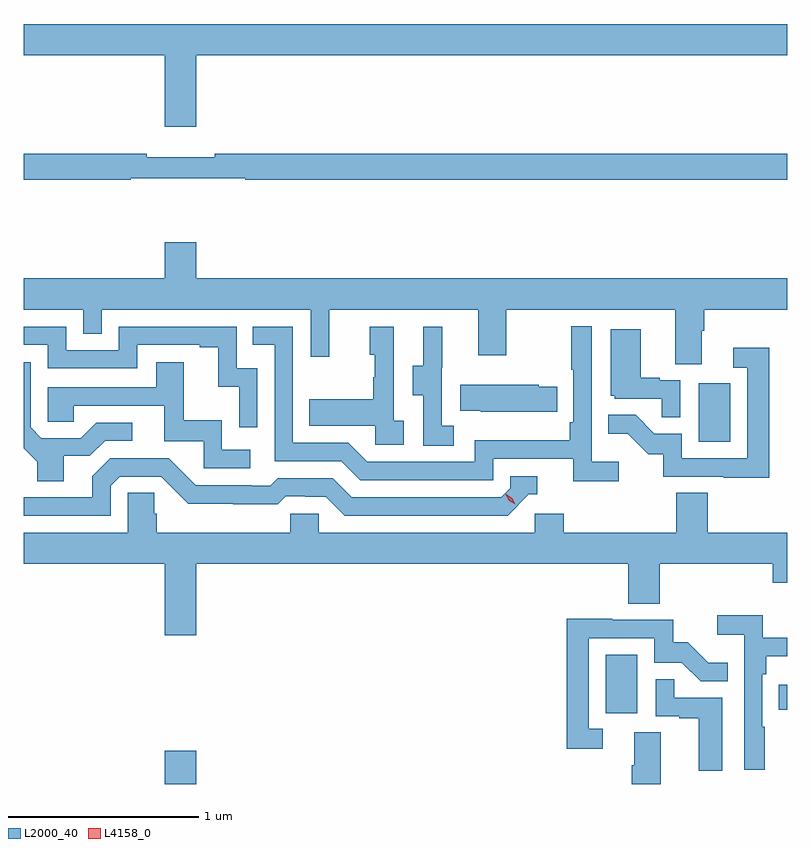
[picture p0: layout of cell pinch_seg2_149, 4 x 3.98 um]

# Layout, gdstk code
import gdstk
lib = gdstk.Library(unit=1e-6, precision=1e-09)
def R(c, l, rs):  # rectangles x0, y0, x1, y1
    for r in rs: c.add(gdstk.rectangle(r[:2], r[2:], *l))
def P(c, l, *ps):  # polygons
    for p in ps: c.add(gdstk.Polygon(p, *l))
L2000_40 = (2000, 40)
L4158_0 = (4158, 0)

pinch_seg2_149 = lib.new_cell('pinch_seg2_149')
R(pinch_seg2_149, L2000_40, [(1088.084,638.491,1088.248,638.665), (1090.394,638.862,1090.558,639.169), (1091.299,638.881,1091.344,639.01), (1090.88,640.284,1091.044,640.591)])
P(pinch_seg2_149, L2000_40, [(1088.248,642.308),(1091.344,642.308),(1091.344,642.472),(1087.344,642.472),(1087.344,642.308),(1088.084,642.308),(1088.084,641.934),(1088.248,641.934)],
  [(1087.904,641.664),(1088.504,641.664),(1088.504,641.656),(1091.344,641.656),(1091.344,641.792),(1088.344,641.792),(1088.344,641.773),(1087.988,641.773),(1087.988,641.792),(1087.344,641.792),(1087.344,641.656),(1087.904,641.656)],
  [(1090.897,640.864),(1090.91,640.864),(1090.91,640.976),(1091.344,640.976),(1091.344,641.14),(1088.248,641.14),(1088.248,641.329),(1088.084,641.329),(1088.084,641.14),(1087.344,641.14),(1087.344,640.976),(1087.656,640.976),(1087.656,640.849),(1087.752,640.849),(1087.752,640.976),(1088.847,640.976),(1088.847,640.728),(1088.945,640.728),(1088.945,640.976),(1089.725,640.976),(1089.725,640.737),(1089.873,640.737),(1089.873,640.976),(1090.757,640.976),(1090.757,640.69),(1090.897,640.69)],
  [(1090.462,640.18),(1090.32,640.18),(1090.32,640.888),(1090.212,640.888),(1090.212,640.66),(1090.224,640.66),(1090.224,640.387),(1090.204,640.387),(1090.204,640.291),(1089.708,640.291),(1089.708,640.179),(1089.144,640.179),(1089.045,640.278),(1088.754,640.278),(1088.754,640.887),(1088.545,640.887),(1088.545,640.791),(1088.658,640.791),(1088.658,640.182),(1089.008,640.182),(1089.107,640.083),(1089.804,640.083),(1089.804,640.194),(1090.223,640.194),(1090.223,640.078),(1090.462,640.078)],
  [(1088.568,640.668),(1088.46,640.668),(1088.46,640.887),(1087.842,640.887),(1087.842,640.764),(1087.566,640.764),(1087.566,640.887),(1087.344,640.887),(1087.344,640.791),(1087.47,640.791),(1087.47,640.668),(1087.938,640.668),(1087.938,640.791),(1088.267,640.791),(1088.267,640.779),(1088.363,640.779),(1088.363,640.571),(1088.472,640.571),(1088.472,640.359),(1088.568,640.359)],
  [(1089.334,640.394),(1089.282,640.394),(1089.282,640.885),(1089.158,640.885),(1089.158,640.74),(1089.184,640.74),(1089.184,640.622),(1089.174,640.622),(1089.174,640.507),(1088.839,640.507),(1088.839,640.367),(1089.186,640.367),(1089.186,640.269),(1089.334,640.269)],
  [(1089.598,640.367),(1089.534,640.367),(1089.534,640.671),(1089.536,640.671),(1089.536,640.885),(1089.437,640.885),(1089.437,640.683),(1089.383,640.683),(1089.383,640.528),(1089.438,640.528),(1089.438,640.264),(1089.598,640.264)],
  [(1090.782,640.605),(1090.676,640.605),(1090.676,640.618),(1090.576,640.618),(1090.576,640.873),(1090.418,640.873),(1090.418,640.524),(1090.44,640.524),(1090.44,640.509),(1090.687,640.509),(1090.687,640.411),(1090.782,640.411)],
  [(1091.249,640.777),(1091.061,640.777),(1091.061,640.671),(1091.133,640.671),(1091.133,640.197),(1090.791,640.197),(1090.791,640.326),(1090.647,640.326),(1090.549,640.424),(1090.405,640.424),(1090.405,640.325),(1090.509,640.325),(1090.616,640.218),(1090.693,640.218),(1090.693,640.101),(1091.011,640.101),(1091.011,640.096),(1091.249,640.096)],
  [(1087.555,640.21),(1087.69,640.21),(1087.77,640.29),(1087.912,640.29),(1087.912,640.383),(1087.724,640.383),(1087.643,640.302),(1087.437,640.302),(1087.38,640.359),(1087.38,640.699),(1087.344,640.699),(1087.344,640.251),(1087.415,640.18),(1087.415,640.078),(1087.555,640.078)],
  [(1088.53,640.242),(1088.382,640.242),(1088.382,640.396),(1088.183,640.396),(1088.183,640.699),(1088.039,640.699),(1088.039,640.569),(1087.47,640.569),(1087.47,640.389),(1087.607,640.389),(1087.607,640.473),(1088.081,640.473),(1088.081,640.287),(1088.286,640.287),(1088.286,640.146),(1088.53,640.146)],
  [(1090.139,640.572),(1090.041,640.572),(1090.041,640.582),(1089.631,640.582),(1089.631,640.445),(1089.739,640.445),(1089.739,640.442),(1090.139,640.442)],
  [(1087.8,640.053),(1087.848,640.101),(1088.064,640.101),(1088.206,639.959),(1088.442,639.959),(1088.442,639.957),(1088.675,639.957),(1088.717,639.999),(1088.82,639.999),(1088.82,639.996),(1088.927,639.996),(1089.026,639.897),(1089.879,639.897),(1089.99,640.008),(1090.033,640.008),(1090.033,640.104),(1089.894,640.104),(1089.894,640.041),(1089.846,639.993),(1089.063,639.993),(1088.964,640.092),(1088.675,640.092),(1088.636,640.053),(1088.537,640.053),(1088.537,640.056),(1088.244,640.056),(1088.103,640.197),(1087.797,640.197),(1087.703,640.103),(1087.703,639.993),(1087.344,639.993),(1087.344,639.897),(1087.8,639.897)],
  [(1088.248,639.644),(1090.511,639.644),(1090.511,639.436),(1090.676,639.436),(1090.676,639.644),(1091.267,639.644),(1091.267,639.546),(1091.344,639.546),(1091.344,639.808),(1090.928,639.808),(1090.928,640.016),(1090.763,640.016),(1090.763,639.808),(1090.172,639.808),(1090.172,639.906),(1090.02,639.906),(1090.02,639.808),(1088.889,639.808),(1088.889,639.906),(1088.739,639.906),(1088.739,639.808),(1088.042,639.808),(1088.042,639.906),(1088.027,639.906),(1088.027,640.016),(1087.89,640.016),(1087.89,639.808),(1087.344,639.808),(1087.344,639.644),(1088.084,639.644),(1088.084,639.27),(1088.248,639.27)],
  [(1091.227,638.792),(1091.214,638.792),(1091.214,639.065),(1091.234,639.065),(1091.234,639.161),(1091.344,639.161),(1091.344,639.258),(1091.216,639.258),(1091.216,639.374),(1090.977,639.374),(1090.977,639.272),(1091.118,639.272),(1091.118,638.565),(1091.227,638.565)],
  [(1090.378,638.781),(1090.305,638.781),(1090.305,639.255),(1090.647,639.255),(1090.647,639.126),(1090.792,639.126),(1090.89,639.028),(1091.033,639.028),(1091.033,639.127),(1090.929,639.127),(1090.822,639.234),(1090.746,639.234),(1090.746,639.351),(1090.427,639.351),(1090.427,639.356),(1090.189,639.356),(1090.189,638.676),(1090.378,638.676)],
  [(1091.002,638.943),(1090.751,638.943),(1090.751,639.041),(1090.656,639.041),(1090.656,638.847),(1090.777,638.847),(1090.777,638.835),(1090.88,638.835),(1090.88,638.561),(1091.002,638.561)],
  [(1090.681,638.762),(1090.541,638.762),(1090.541,638.588),(1090.529,638.588),(1090.529,638.491),(1090.681,638.491)])
P(pinch_seg2_149, L4158_0, [(1089.918,639.956),(1089.887,639.975),(1089.87,640.007),(1089.87,640.008),(1089.871,640.008),(1089.902,639.988),(1089.918,639.956),(1089.918,639.956)])

lib.write_gds('pinch_seg2_149.gds')
